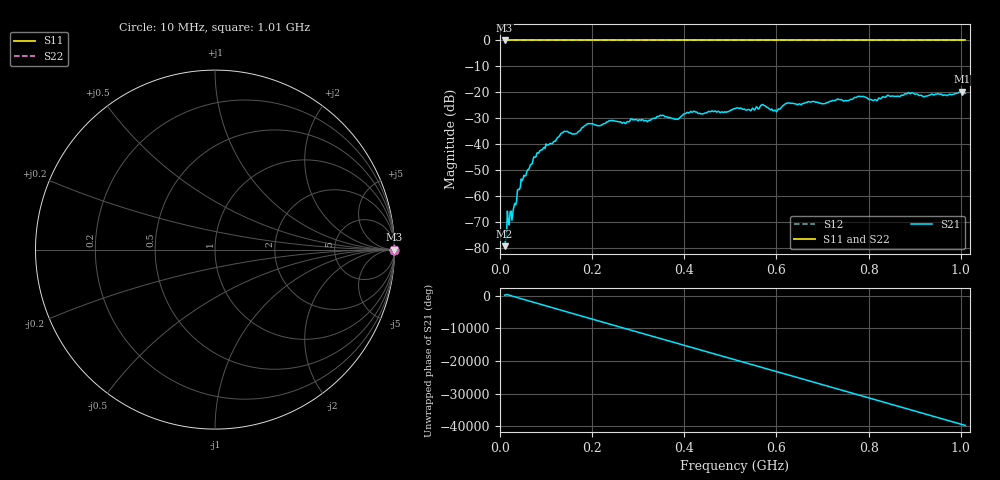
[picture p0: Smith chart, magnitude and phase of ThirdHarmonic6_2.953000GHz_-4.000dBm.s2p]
! 8/17/2025 8:18:31 AM
! C:\ANRITSUVNA\TEMP\TEMP.S2P
! CHANNEL.1
! TR.MEASUREMENT
! RAW.DATA
! RF.CORRECTION.OFF
! AVERAGING.OFF
! IF.BANDWIDTH: 5KHZ
! SWEEPTYPE:  FREQ.SWEEP(Linear)
! Reference Plane Port Info
! PORT:  PORT1  PORT2
! DISTANCE:  0  m  0  m
! TIME:  0  s  0  s
! PHASE.OFFSET:  0  deg.  0  deg.
! LOSS:  0  dB  0  dB
! REF.LOSS:  0  dB  0  dB
! REF.FREQ:  0  Hz  0  Hz
! Power Info
! POWER:  -20  dBm  -20  dBm
! EFF.POWER:  -20  dBm  -20  dBm
! SOURCE.ATTEN:  0  dB  0  dB
! TEST.ATTEN:  0  dB  0  dB
# GHZ S RI R 50.0
! FREQ.GHZ  S11RE  S11IM  S21RE  S21IM  S12RE  S12IM  S22RE  S22IM
!; PortSelection: Port_12
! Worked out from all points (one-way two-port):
!   501 points, 10 MHz to 1.01 GHz, reference 50 ohm
!   highest |S21| = -19.77 dB at 1.002 GHz (marker M1); lowest = -79.4 dB at 10 MHz (marker M2)
!   lowest |S11| = 0.0 dB at 10 MHz (marker M3)
!   |S11| at or under -10 dB: nowhere
!   |S22| runs from 0.0 to 0.0 dB; largest |S21 - S12| = 1.1
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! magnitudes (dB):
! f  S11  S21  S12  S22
! 10 MHz  0.0  -79.4  0.0  0.0
! 20 MHz  0.0  -71.1  0.0  0.0
! 30 MHz  0.0  -64.3  0.0  0.0
! 42 MHz  0.0  -57.6  0.0  0.0
! 76 MHz  0.0  -45.1  0.0  0.0
! 136 MHz  0.0  -35.7  0.0  0.0
! 162 MHz  0.0  -36.1  0.0  0.0
! 178 MHz  0.0  -33.6  0.0  0.0
! 194 MHz  0.0  -32.0  0.0  0.0
! 322 MHz  0.0  -31.0  0.0  0.0
! 344 MHz  0.0  -29.3  0.0  0.0
! 382 MHz  0.0  -30.4  0.0  0.0
! 418 MHz  0.0  -27.7  0.0  0.0
! 510 MHz  0.0  -26.3  0.0  0.0
! 570 MHz  0.0  -24.7  0.0  0.0
! 598 MHz  0.0  -26.9  0.0  0.0
! 624 MHz  0.0  -24.2  0.0  0.0
! 678 MHz  0.0  -23.5  0.0  0.0
! 814 MHz  0.0  -22.8  0.0  0.0
! 844 MHz  0.0  -21.3  0.0  0.0
! 1.002 GHz  0.0  -19.8  0.0  0.0
! 1.01 GHz  0.0  -20.4  0.0  0.0
